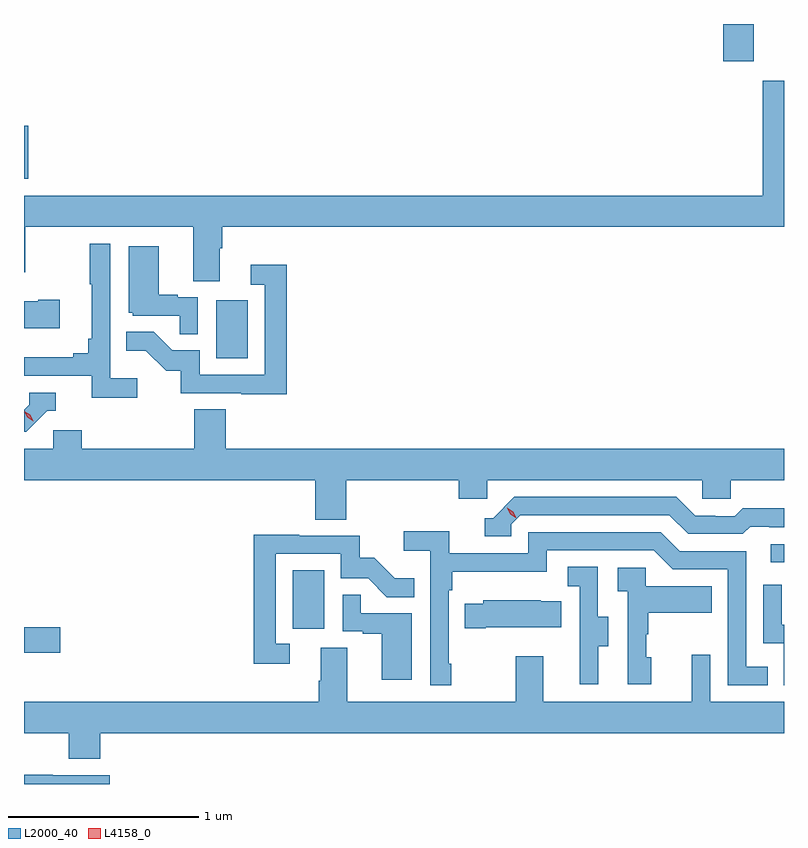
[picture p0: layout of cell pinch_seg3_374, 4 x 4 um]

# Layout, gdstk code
import gdstk
lib = gdstk.Library(unit=1e-6, precision=1e-09)
def R(c, l, rs):  # rectangles x0, y0, x1, y1
    for r in rs: c.add(gdstk.rectangle(r[:2], r[2:], *l))
def P(c, l, *ps):  # polygons
    for p in ps: c.add(gdstk.Polygon(p, *l))
L2000_40 = (2000, 40)
L4158_0 = (4158, 0)

pinch_seg3_374 = lib.new_cell('pinch_seg3_374')
R(pinch_seg3_374, L2000_40, [(996.849,700.007,997.039,700.142), (998.264,700.134,998.428,700.441), (1000.779,700.482,1000.849,700.578), (997.862,701.556,998.026,701.863), (996.849,702.501,996.872,702.78), (1000.529,703.119,1000.689,703.316)])
P(pinch_seg3_374, L2000_40, [(997.879,702.136),(997.892,702.136),(997.892,702.248),(1000.849,702.248),(1000.849,703.018),(1000.736,703.018),(1000.736,702.412),(996.849,702.412),(996.849,702.009),(996.855,702.009),(996.855,702.248),(997.739,702.248),(997.739,701.962),(997.879,701.962)],
  [(997.444,701.452),(997.302,701.452),(997.302,702.16),(997.194,702.16),(997.194,701.947),(997.205,701.947),(997.205,701.659),(997.186,701.659),(997.186,701.582),(997.109,701.582),(997.109,701.563),(996.849,701.563),(996.849,701.466),(997.205,701.466),(997.205,701.35),(997.444,701.35)],
  [(997.764,701.877),(997.658,701.877),(997.658,701.89),(997.558,701.89),(997.558,702.145),(997.4,702.145),(997.4,701.796),(997.422,701.796),(997.422,701.781),(997.669,701.781),(997.669,701.683),(997.764,701.683)],
  [(998.231,702.049),(998.043,702.049),(998.043,701.943),(998.115,701.943),(998.115,701.469),(997.773,701.469),(997.773,701.598),(997.629,701.598),(997.531,701.696),(997.387,701.696),(997.387,701.597),(997.491,701.597),(997.598,701.49),(997.675,701.49),(997.675,701.373),(997.993,701.373),(997.993,701.368),(998.231,701.368)],
  [(997.036,701.865),(996.923,701.865),(996.923,701.857),(996.849,701.857),(996.849,701.714),(997.036,701.714)],
  [(996.972,701.28),(997.015,701.28),(997.015,701.376),(996.876,701.376),(996.876,701.313),(996.849,701.286),(996.849,701.169),(996.861,701.169)],
  [(998.546,700.916),(999.137,700.916),(999.137,700.818),(999.288,700.818),(999.288,700.916),(1000.419,700.916),(1000.419,700.818),(1000.569,700.818),(1000.569,700.916),(1000.849,700.916),(1000.849,701.08),(997.91,701.08),(997.91,701.288),(997.745,701.288),(997.745,701.08),(997.154,701.08),(997.154,701.178),(997.002,701.178),(997.002,701.08),(996.849,701.08),(996.849,700.916),(998.381,700.916),(998.381,700.708),(998.546,700.708)],
  [(999.414,700.683),(999.462,700.731),(1000.245,700.731),(1000.344,700.632),(1000.633,700.632),(1000.672,700.671),(1000.771,700.671),(1000.771,700.668),(1000.849,700.668),(1000.849,700.768),(1000.633,700.768),(1000.591,700.725),(1000.488,700.725),(1000.488,700.728),(1000.381,700.728),(1000.282,700.827),(999.429,700.827),(999.318,700.716),(999.275,700.716),(999.275,700.62),(999.414,700.62)],
  [(999.097,699.949),(999.084,699.949),(999.084,700.337),(999.104,700.337),(999.104,700.433),(999.6,700.433),(999.6,700.545),(1000.164,700.545),(1000.263,700.446),(1000.554,700.446),(1000.554,699.837),(1000.763,699.837),(1000.763,699.933),(1000.65,699.933),(1000.65,700.542),(1000.3,700.542),(1000.201,700.641),(999.504,700.641),(999.504,700.53),(999.086,700.53),(999.086,700.646),(998.847,700.646),(998.847,700.544),(998.988,700.544),(998.988,699.837),(999.097,699.837)],
  [(998.248,700.053),(998.175,700.053),(998.175,700.527),(998.517,700.527),(998.517,700.398),(998.661,700.398),(998.759,700.3),(998.903,700.3),(998.903,700.399),(998.799,700.399),(998.692,700.506),(998.616,700.506),(998.616,700.623),(998.297,700.623),(998.297,700.628),(998.059,700.628),(998.059,699.948),(998.248,699.948)],
  [(999.871,700.042),(999.925,700.042),(999.925,700.197),(999.87,700.197),(999.87,700.46),(999.711,700.46),(999.711,700.357),(999.774,700.357),(999.774,700.053),(999.773,700.053),(999.773,699.84),(999.871,699.84)],
  [(1000.15,699.984),(1000.125,699.984),(1000.125,700.103),(1000.135,700.103),(1000.135,700.217),(1000.469,700.217),(1000.469,700.357),(1000.122,700.357),(1000.122,700.455),(999.975,700.455),(999.975,700.331),(1000.026,700.331),(1000.026,699.84),(1000.15,699.84)],
  [(1000.849,700.154),(1000.836,700.154),(1000.836,700.366),(1000.74,700.366),(1000.74,700.056),(1000.848,700.056),(1000.848,699.837),(1000.849,699.837)],
  [(998.89,700.215),(998.621,700.215),(998.621,700.313),(998.526,700.313),(998.526,700.119),(998.633,700.119),(998.633,700.107),(998.732,700.107),(998.732,699.864),(998.89,699.864)],
  [(999.28,700.142),(999.677,700.142),(999.677,700.279),(999.569,700.279),(999.569,700.282),(999.267,700.282),(999.267,700.264),(999.169,700.264),(999.169,700.135),(999.28,700.135)],
  [(997.25,699.584),(1000.849,699.584),(1000.849,699.748),(1000.461,699.748),(1000.461,699.997),(1000.364,699.997),(1000.364,699.748),(999.583,699.748),(999.583,699.988),(999.436,699.988),(999.436,699.748),(998.551,699.748),(998.551,700.034),(998.411,700.034),(998.411,699.86),(998.399,699.86),(998.399,699.748),(996.849,699.748),(996.849,699.584),(997.085,699.584),(997.085,699.448),(997.25,699.448)],
  [(997.301,699.363),(997.001,699.363),(997.001,699.366),(996.849,699.366),(996.849,699.316),(997.301,699.316)])
P(pinch_seg3_374, L4158_0, [(996.898,701.226),(996.867,701.245),(996.851,701.278),(996.851,701.278),(996.851,701.278),(996.882,701.259),(996.898,701.226),(996.898,701.226)],
  [(999.438,700.717),(999.408,700.737),(999.392,700.77),(999.392,700.77),(999.392,700.77),(999.423,700.75),(999.439,700.718),(999.439,700.717)])

lib.write_gds('pinch_seg3_374.gds')
